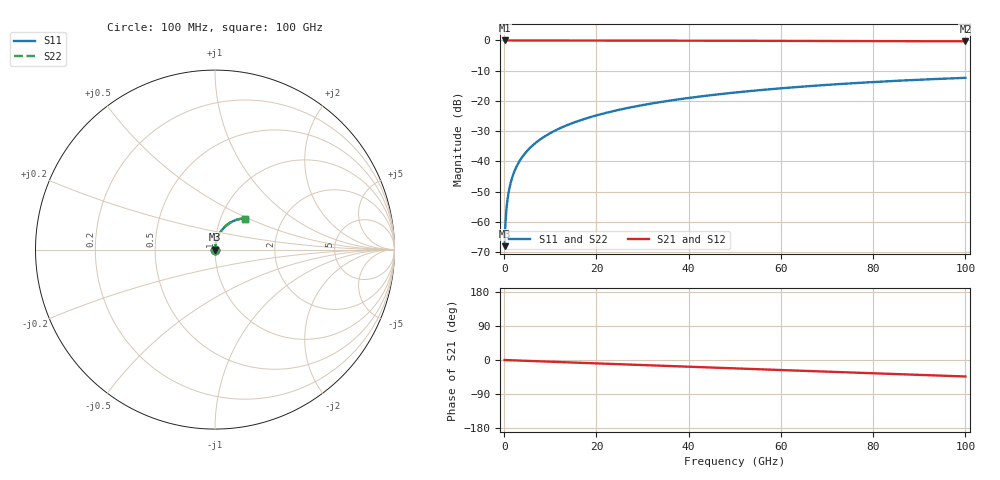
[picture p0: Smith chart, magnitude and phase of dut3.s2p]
! Touchstone file exported from HFSS 2026.1.0
!  File:  C:/ffzhzh/LocalFiles/Ansys_Project_Files/temp_train_TSV_3_1783504103_55944.aedt
!  Generated:  05:49:57 PM Jul  8, 2026
!  Design:  TSV
!  Project:  temp_train_TSV_3_1783504103_55944
! Variables:
!  h_bsmrdl = 2um
!  h_ox = 20um
!  h_rdl = 5um
!  h_sub = 80.66um
!  h_tmrdl = 5um
!  h_tsv = 80.66um
!  h_via = 3um
!  l_bsmrdl = 300um
!  l_sub = 414.28um
!  l_tmrdl = 200um
!  m_sub = 200um
!  pitch = 48.7um
!  r_tsv = 7.14um
!  s_tmrdl = 10um
!  w_bsmrdl = 18um
!  w_sub = 500um
!  w_tmrdl = 12um
!  x_tsv_center1 = 206um
!  x_tsv_center2 = 524um
!  x_tsv_center3 = 736um
!  x_tsv_center4 = 1054um
!  x_tsv_center5 = 1266um
!  x_tsv_center6 = 1584um
# GHz S MA R 50.000000
! Terminal data exported
! Port[1] = TSV1_1_T1
! Port[2] = TSV1_1_T2
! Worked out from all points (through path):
!   1000 points, 100 MHz to 100 GHz, reference 50 ohm
!   highest |S21| = 0.00 dB at 100 MHz (marker M1); lowest = -0.3 dB at 100 GHz (marker M2)
!   group delay of S21, straight-line fit = 1.21 ps
!   lowest |S11| = -68.0 dB at 100 MHz (marker M3), VSWR 1.00, Z = 50 + j0.0333 ohm
!   |S11| at or under -10 dB: start of sweep to end of sweep
!   |S22| runs from -68.0 to -12.4 dB; largest |S21 - S12| = 4.1e-15
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0.1  0.0003961 57.0  0.9998 -0.0  0.9998 -0.0  0.0003961 57.0
! Gamma 0 0 0 0
! Port Impedance 50 0 50 0
0.4  0.001323 78.4  0.9997 -0.2  0.9997 -0.2  0.001323 78.4
0.7  0.002249 81.9  0.9997 -0.3  0.9997 -0.3  0.002249 81.9
0.8  0.002556 82.5  0.9997 -0.4  0.9997 -0.4  0.002556 82.5
1  0.003168 83.3  0.9996 -0.5  0.9996 -0.5  0.003168 83.3
1.3  0.004081 83.9  0.9996 -0.6  0.9996 -0.6  0.004081 83.9
1.7  0.005287 84.4  0.9995 -0.8  0.9995 -0.8  0.005287 84.4
2.3  0.007075 84.6  0.9994 -1.1  0.9994 -1.1  0.007075 84.6
3  0.009134 84.7  0.9993 -1.4  0.9993 -1.4  0.009134 84.7
3.8  0.01147 84.7  0.9992 -1.7  0.9992 -1.7  0.01147 84.7
4.8  0.01437 84.7  0.9991 -2.2  0.9991 -2.2  0.01437 84.7
6  0.01784 84.5  0.999 -2.7  0.999 -2.7  0.01784 84.5
8.8  0.02591 83.7  0.9986 -4.0  0.9986 -4.0  0.02591 83.7
12.4  0.0362 82.4  0.9981 -5.6  0.9981 -5.6  0.0362 82.4
16.8  0.04867 80.7  0.9973 -7.5  0.9973 -7.5  0.04867 80.7
24.2  0.06935 77.7  0.9958 -10.8  0.9958 -10.8  0.06935 77.7
33.4  0.09446 73.9  0.9934 -14.9  0.9934 -14.9  0.09446 73.9
41.2  0.1151 70.6  0.9911 -18.3  0.9911 -18.3  0.1151 70.6
50.1  0.1377 66.8  0.988 -22.2  0.988 -22.2  0.1377 66.8
66.7  0.177 59.7  0.9814 -29.4  0.9814 -29.4  0.177 59.7
83.4  0.2118 52.7  0.9742 -36.5  0.9742 -36.5  0.2118 52.7
100  0.241 45.8  0.9671 -43.5  0.9671 -43.5  0.241 45.8
